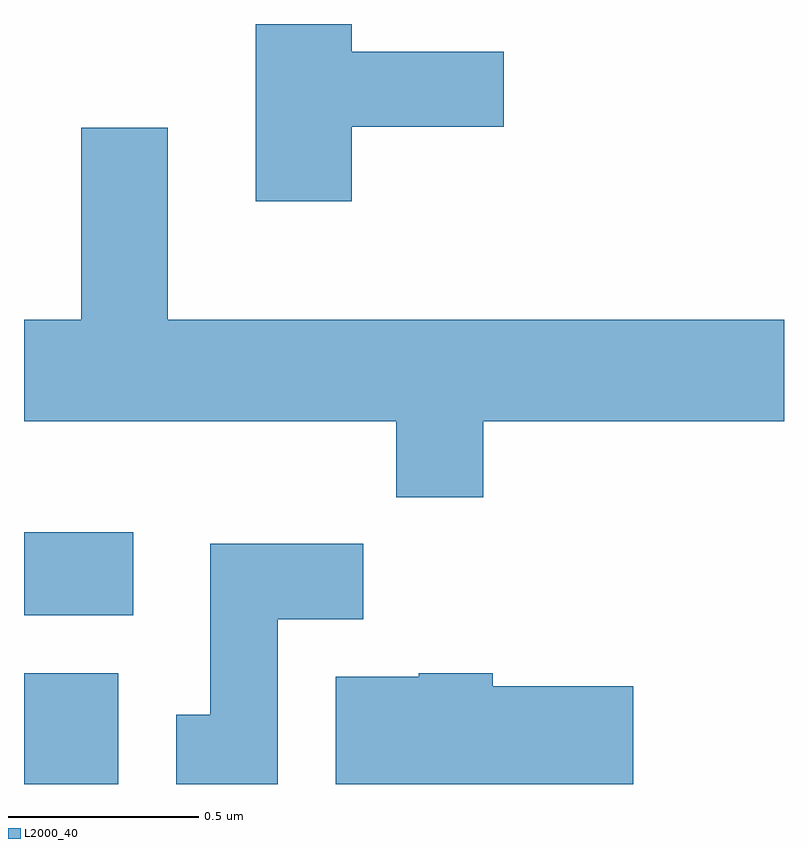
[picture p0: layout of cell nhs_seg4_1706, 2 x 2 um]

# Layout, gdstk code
import gdstk
lib = gdstk.Library(unit=1e-6, precision=1e-09)
def R(c, l, rs):  # rectangles x0, y0, x1, y1
    for r in rs: c.add(gdstk.rectangle(r[:2], r[2:], *l))
def P(c, l, *ps):  # polygons
    for p in ps: c.add(gdstk.Polygon(p, *l))
L2000_40 = (2000, 40)

nhs_seg4_1706 = lib.new_cell('nhs_seg4_1706')
R(nhs_seg4_1706, L2000_40, [(197.611,1315.982,197.859,1316.274), (197.611,1316.426,197.899,1316.644)])
P(nhs_seg4_1706, L2000_40, [(198.474,1317.711),(198.874,1317.711),(198.874,1317.909),(198.474,1317.909),(198.474,1317.982),(198.221,1317.982),(198.221,1317.516),(198.474,1317.516)],
  [(198.819,1316.936),(199.611,1316.936),(199.611,1317.204),(197.989,1317.204),(197.989,1317.709),(197.761,1317.709),(197.761,1317.204),(197.611,1317.204),(197.611,1316.936),(198.591,1316.936),(198.591,1316.736),(198.819,1316.736)],
  [(198.279,1316.416),(198.504,1316.416),(198.504,1316.614),(198.101,1316.614),(198.101,1316.164),(198.011,1316.164),(198.011,1315.982),(198.279,1315.982)],
  [(199.214,1316.239),(198.844,1316.239),(198.844,1316.274),(198.65,1316.274),(198.65,1316.264),(198.431,1316.264),(198.431,1315.982),(199.214,1315.982)])

lib.write_gds('nhs_seg4_1706.gds')
